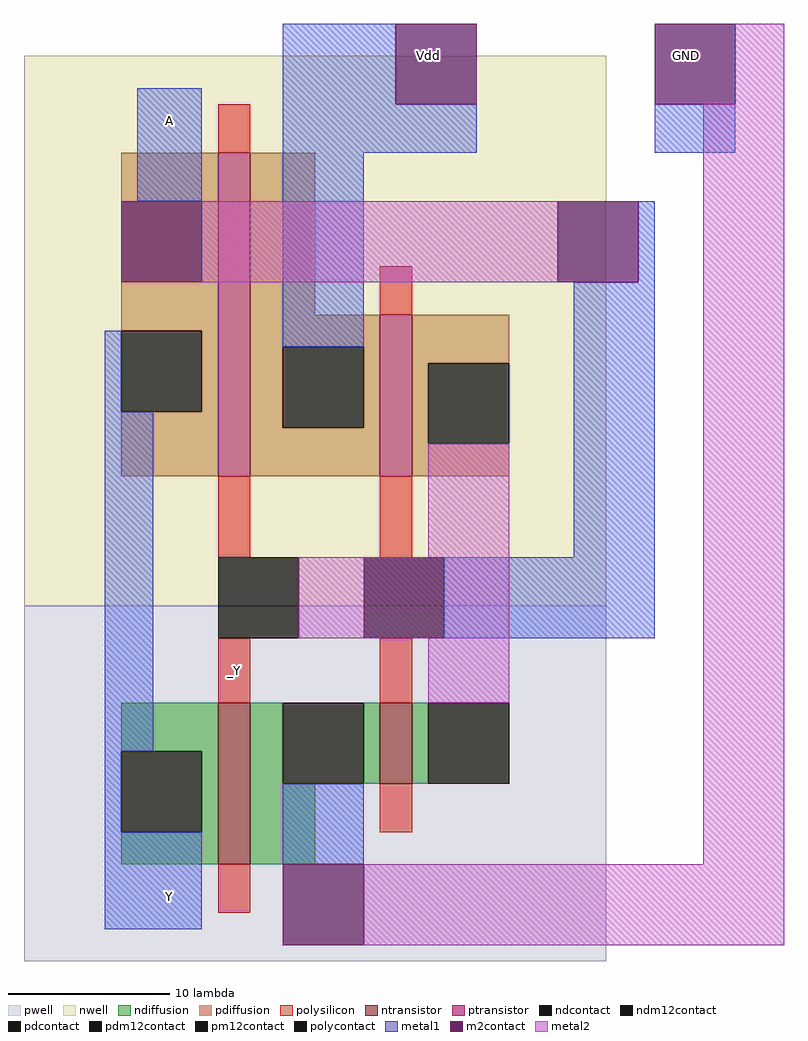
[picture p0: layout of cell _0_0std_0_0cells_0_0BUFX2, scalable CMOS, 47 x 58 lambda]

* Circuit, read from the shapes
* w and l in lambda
.subckt _0_0std_0_0cells_0_0BUFX2 A GND Vdd Y _Y
M1 GND _Y Y VSUBS nfet w=10 l=2
M2 _Y A GND VSUBS nfet w=5 l=2
M3 Vdd _Y Y n1 pfet w=20 l=2
M4 _Y A Vdd n1 pfet w=10 l=2
.ends

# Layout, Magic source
magic
tech scmos
<< nwell >>
rect 1 24 37 58
<< pwell >>
rect 1 2 37 24
<< ntransistor >>
rect 13 8 15 18
rect 23 13 25 18
<< ptransistor >>
rect 13 32 15 52
rect 23 32 25 42
<< ndiffusion >>
rect 7 15 13 18
rect 12 10 13 15
rect 7 8 13 10
rect 15 13 17 18
rect 22 13 23 18
rect 25 13 26 18
rect 15 8 19 13
<< pdiffusion >>
rect 7 41 13 52
rect 12 36 13 41
rect 7 32 13 36
rect 15 42 19 52
rect 15 40 23 42
rect 15 35 17 40
rect 22 35 23 40
rect 15 32 23 35
rect 25 39 31 42
rect 25 34 26 39
rect 25 32 31 34
<< ndcontact >>
rect 7 10 12 15
rect 17 13 22 18
<< pdcontact >>
rect 7 36 12 41
rect 17 35 22 40
<< polysilicon >>
rect 13 52 15 55
rect 23 42 25 45
rect 13 27 15 32
rect 23 27 25 32
rect 13 18 15 22
rect 23 18 25 22
rect 23 10 25 13
rect 13 5 15 8
<< polycontact >>
rect 22 22 27 27
<< metal1 >>
rect 8 49 12 56
rect 17 55 24 60
rect 17 52 29 55
rect 40 52 45 55
rect 6 36 7 41
rect 17 40 22 52
rect 39 44 40 49
rect 6 15 9 36
rect 35 27 40 44
rect 27 22 40 27
rect 6 10 7 15
rect 6 4 12 10
rect 17 8 22 13
<< m2contact >>
rect 7 44 12 49
rect 24 55 29 60
rect 40 55 45 60
rect 34 44 39 49
rect 17 3 22 8
<< pm12contact >>
rect 13 22 18 27
<< pdm12contact >>
rect 26 34 31 39
<< ndm12contact >>
rect 26 13 31 18
<< metal2 >>
rect 45 55 48 60
rect 12 44 34 49
rect 26 27 31 34
rect 18 22 31 27
rect 26 18 31 22
rect 43 8 48 55
rect 22 3 48 8
<< labels >>
rlabel metal2 40 56 44 60 3 GND
rlabel metal2 24 56 28 60 3 Vdd
rlabel metal1 8 4 12 8 3 Y
rlabel metal1 8 52 12 56 3 A
rlabel polysilicon 13 18 15 22 3 _Y
<< end >>
